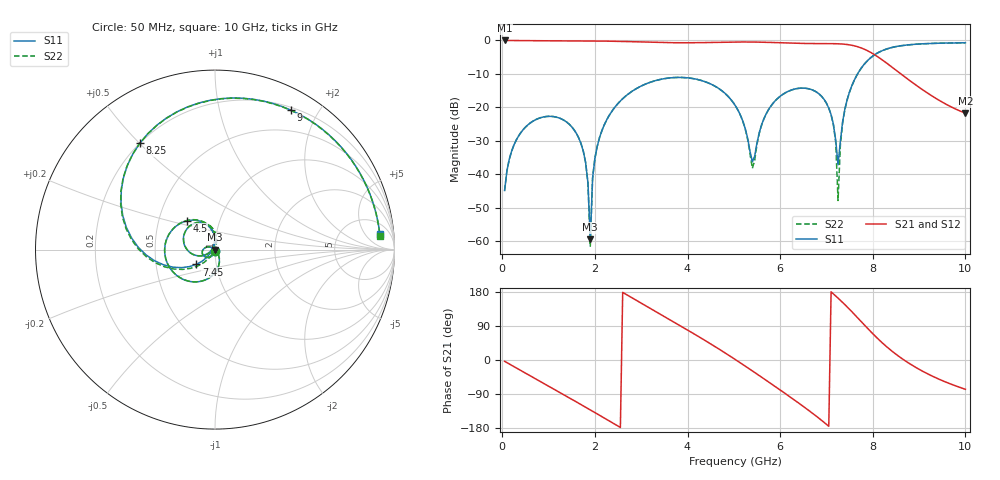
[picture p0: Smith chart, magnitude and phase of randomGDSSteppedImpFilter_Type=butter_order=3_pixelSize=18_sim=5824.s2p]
! freq	dB(S11)	phase(S11)	dB(S12)	phase(S12)
!  dB(S21)	phase(S21)	dB(S22)	phase(S22)
!S-par simulation data
#  GHz  S  DB  R 50
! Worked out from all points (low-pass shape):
!   200 points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, 50 MHz to 10 GHz, reference 50 ohm
!   highest |S21| = -0.01 dB at 50 MHz (marker M1); lowest = -21.7 dB at 10 GHz (marker M2)
!   |S21| within 3 dB of the highest: start of sweep to 7.878 GHz
!   lowest |S11| = -59.3 dB at 1.9 GHz (marker M3), VSWR 1.00, Z = 50 - j0.108 ohm
!   |S11| at or under -10 dB: start of sweep to 7.671 GHz
!   |S22| runs from -61.4 to -0.7 dB; largest |S21 - S12| = 0
!   S11 on the Smith chart (normalised r, x): 50 MHz: 1.00, -0.01; 4.5 GHz: 0.70, +0.23; 7.45 GHz: 0.80, -0.13; 8.25 GHz: 0.20, +0.50; 9 GHz: 0.23, +1.66; 10 GHz: 11, +12
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0.05  -44.79 -90.4  -0.01 -3.5  -0.01 -3.5  -44.79 -90.4
0.25  -31.25 -106.4  -0.03 -17.4  -0.03 -17.4  -31.25 -106.5
0.7  -23.79 -138.6  -0.08 -48.4  -0.08 -48.4  -23.80 -138.8
1.75  -33.10 149.9  -0.15 -121.1  -0.15 -121.1  -33.11 147.4
1.85  -42.56 146.5  -0.16 -128.2  -0.16 -128.2  -42.60 138.9
1.9  -59.30 -92.7  -0.16 -131.7  -0.16 -131.7  -61.39 -14.9
1.95  -41.07 -50.7  -0.17 -135.2  -0.17 -135.2  -41.10 -44.2
2.2  -25.26 -64.4  -0.20 -153.0  -0.20 -153.0  -25.26 -63.5
3.4  -11.67 -148.4  -0.61 121.6  -0.61 121.6  -11.68 -148.7
4.5  -12.99 134.4  -0.60 42.5  -0.60 42.5  -13.00 133.3
5.05  -19.84 96.4  -0.47 -0.2  -0.47 -0.2  -19.88 94.0
5.4  -36.24 141.9  -0.47 -28.7  -0.47 -28.7  -38.17 139.2
5.8  -19.57 -161.3  -0.60 -62.2  -0.60 -62.2  -19.61 -160.7
6.7  -14.80 126.2  -0.94 -140.7  -0.94 -140.7  -14.80 123.9
7.15  -25.05 92.0  -0.96 174.5  -0.96 174.5  -25.18 80.3
7.25  -37.12 149.7  -1.00 163.4  -1.00 163.4  -47.77 129.5
7.3  -30.13 -144.2  -1.03 157.7  -1.03 157.7  -31.30 -120.9
7.45  -17.51 -141.7  -1.22 139.8  -1.22 139.8  -17.62 -136.3
8.25  -2.79 125.3  -6.25 40.3  -6.25 40.3  -2.80 125.6
8.35  -2.33 115.1  -7.28 29.8  -7.28 29.8  -2.34 115.2
9  -1.06 61.5  -13.99 -24.5  -13.99 -24.5  -1.07 61.1
10  -0.70 5.2  -21.70 -77.3  -21.70 -77.3  -0.70 4.6
